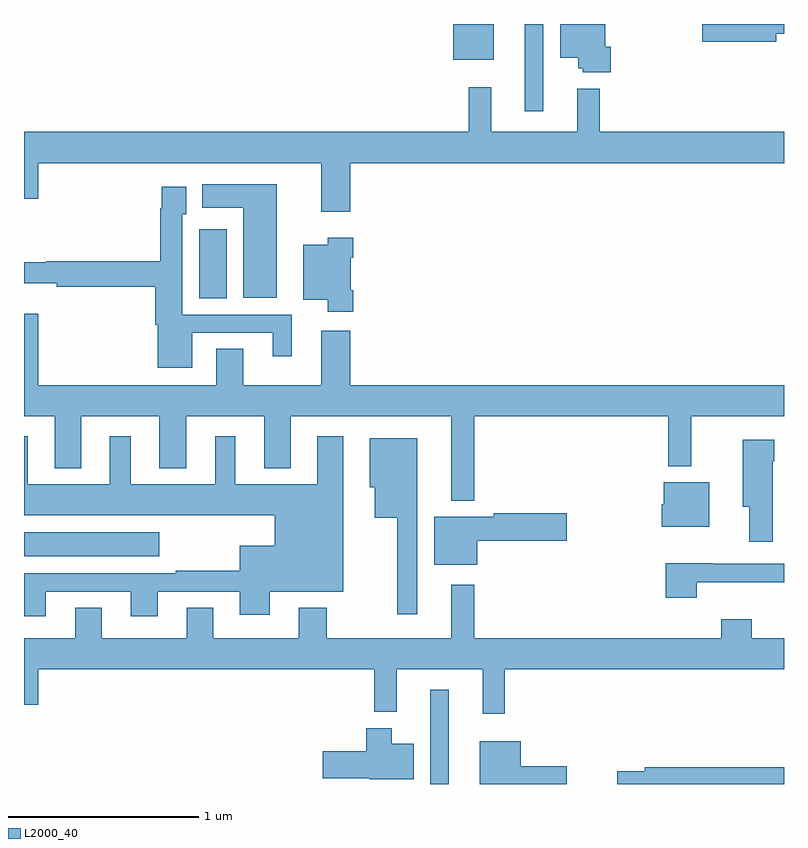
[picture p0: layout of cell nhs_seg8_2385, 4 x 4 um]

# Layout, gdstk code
import gdstk
lib = gdstk.Library(unit=1e-6, precision=1e-09)
def R(c, l, rs):  # rectangles x0, y0, x1, y1
    for r in rs: c.add(gdstk.rectangle(r[:2], r[2:], *l))
def P(c, l, *ps):  # polygons
    for p in ps: c.add(gdstk.Polygon(p, *l))
L2000_40 = (2000, 40)

nhs_seg8_2385 = lib.new_cell('nhs_seg8_2385')
R(nhs_seg8_2385, L2000_40, [(263.139,1111.9,263.236,1112.395), (261,1113.098,261.712,1113.226), (261.923,1114.456,262.066,1114.819), (263.636,1115.442,263.733,1115.9), (263.258,1115.711,263.473,1115.9)])
P(nhs_seg8_2385, L2000_40, [(264.958,1115.848),(265,1115.848),(265,1115.9),(264.57,1115.9),(264.57,1115.806),(264.958,1115.806)],
  [(264.089,1115.781),(264.058,1115.781),(264.058,1115.9),(263.822,1115.9),(263.822,1115.723),(263.918,1115.723),(263.918,1115.667),(263.94,1115.667),(263.94,1115.645),(264.089,1115.645)],
  [(262.718,1115.168),(265,1115.168),(265,1115.332),(264.029,1115.332),(264.029,1115.56),(263.912,1115.56),(263.912,1115.332),(263.459,1115.332),(263.459,1115.566),(263.341,1115.566),(263.341,1115.332),(261,1115.332),(261,1114.98),(261.076,1114.98),(261.076,1115.168),(262.565,1115.168),(262.565,1114.911),(262.718,1114.911)],
  [(262.33,1115.056),(261.938,1115.056),(261.938,1114.934),(262.154,1114.934),(262.154,1114.46),(262.33,1114.46)],
  [(261.886,1114.275),(262.31,1114.275),(262.31,1114.152),(262.408,1114.152),(262.408,1114.371),(261.834,1114.371),(261.834,1114.899),(261.853,1114.899),(261.853,1115.044),(261.726,1115.044),(261.726,1114.931),(261.718,1114.931),(261.718,1114.652),(261.116,1114.652),(261.116,1114.645),(261,1114.645),(261,1114.535),(261.172,1114.535),(261.172,1114.516),(261.692,1114.516),(261.692,1114.317),(261.704,1114.317),(261.704,1114.091),(261.886,1114.091)],
  [(262.733,1114.498),(262.72,1114.498),(262.72,1114.67),(262.733,1114.67),(262.733,1114.774),(262.598,1114.774),(262.598,1114.738),(262.469,1114.738),(262.469,1114.448),(262.598,1114.448),(262.598,1114.386),(262.733,1114.386)],
  [(263.371,1113.836),(264.391,1113.836),(264.391,1113.573),(264.512,1113.573),(264.512,1113.836),(265,1113.836),(265,1114),(262.718,1114),(262.718,1114.285),(262.565,1114.285),(262.565,1114),(262.153,1114),(262.153,1114.19),(262.013,1114.19),(262.013,1114),(261.076,1114),(261.076,1114.375),(261,1114.375),(261,1113.836),(261.161,1113.836),(261.161,1113.563),(261.301,1113.563),(261.301,1113.836),(261.713,1113.836),(261.713,1113.563),(261.853,1113.563),(261.853,1113.836),(262.265,1113.836),(262.265,1113.563),(262.405,1113.563),(262.405,1113.836),(263.249,1113.836),(263.249,1113.392),(263.371,1113.392)],
  [(261.115,1112.913),(261.563,1112.913),(261.563,1112.784),(261.703,1112.784),(261.703,1112.913),(262.136,1112.913),(262.136,1112.792),(262.294,1112.792),(262.294,1112.912),(262.681,1112.912),(262.681,1113.73),(262.544,1113.73),(262.544,1113.478),(262.111,1113.478),(262.111,1113.73),(262.007,1113.73),(262.007,1113.478),(261.562,1113.478),(261.562,1113.73),(261.452,1113.73),(261.452,1113.478),(261.019,1113.478),(261.019,1113.73),(261,1113.73),(261,1113.314),(262.319,1113.314),(262.319,1113.154),(262.136,1113.154),(262.136,1113.022),(261.799,1113.022),(261.799,1113.009),(261,1113.009),(261,1112.784),(261.115,1112.784)],
  [(263.071,1113.721),(262.82,1113.721),(262.82,1113.462),(262.847,1113.462),(262.847,1113.302),(262.965,1113.302),(262.965,1112.793),(263.071,1112.793)],
  [(264.94,1113.599),(264.948,1113.599),(264.948,1113.712),(264.782,1113.712),(264.782,1113.359),(264.818,1113.359),(264.818,1113.174),(264.94,1113.174)],
  [(264.607,1113.487),(264.368,1113.487),(264.368,1113.372),(264.356,1113.372),(264.356,1113.254),(264.607,1113.254)],
  [(263.386,1113.179),(263.857,1113.179),(263.857,1113.326),(263.472,1113.326),(263.472,1113.307),(263.159,1113.307),(263.159,1113.053),(263.386,1113.053)],
  [(264.542,1112.963),(265,1112.963),(265,1113.06),(264.625,1113.06),(264.625,1113.062),(264.377,1113.062),(264.377,1112.88),(264.542,1112.88)],
  [(263.531,1112.504),(265,1112.504),(265,1112.668),(264.831,1112.668),(264.831,1112.767),(264.671,1112.767),(264.671,1112.668),(263.371,1112.668),(263.371,1112.95),(263.249,1112.95),(263.249,1112.668),(262.593,1112.668),(262.593,1112.827),(262.445,1112.827),(262.445,1112.668),(261.997,1112.668),(261.997,1112.828),(261.857,1112.828),(261.857,1112.668),(261.409,1112.668),(261.409,1112.828),(261.269,1112.828),(261.269,1112.668),(261,1112.668),(261,1112.316),(261.076,1112.316),(261.076,1112.504),(262.843,1112.504),(262.843,1112.279),(262.961,1112.279),(262.961,1112.504),(263.414,1112.504),(263.414,1112.271),(263.531,1112.271)],
  [(263.05,1112.113),(262.936,1112.113),(262.936,1112.194),(262.802,1112.194),(262.802,1112.073),(262.572,1112.073),(262.572,1111.931),(262.818,1111.931),(262.818,1111.925),(263.05,1111.925)],
  [(263.857,1111.994),(263.614,1111.994),(263.614,1112.125),(263.399,1112.125),(263.399,1111.9),(263.857,1111.9)],
  [(265,1111.988),(264.268,1111.988),(264.268,1111.968),(264.122,1111.968),(264.122,1111.9),(265,1111.9)])

lib.write_gds('nhs_seg8_2385.gds')
